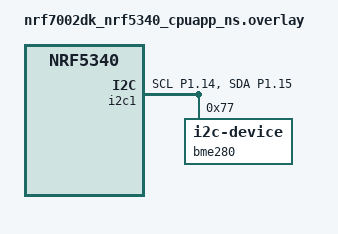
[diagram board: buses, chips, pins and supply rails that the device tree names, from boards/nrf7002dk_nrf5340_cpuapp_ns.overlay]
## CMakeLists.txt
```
# SPDX-License-Identifier: Apache-2.0

cmake_minimum_required(VERSION 3.20.0)
find_package(Zephyr REQUIRED HINTS $ENV{ZEPHYR_BASE})
project(blinky)

target_sources(app PRIVATE src/main.c)

if(CONFIG_SUM_PRINT)
    target_sources(app PRIVATE sum_printk/sum_printk.c)
    target_include_directories(app PRIVATE sum_printk)
endif()

if(CONFIG_SUM_LOG)
    target_sources(app PRIVATE sum_log/sum_log.c)
    target_include_directories(app PRIVATE sum_log)
endif()
```

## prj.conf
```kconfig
CONFIG_GPIO=y

CONFIG_CONSOLE=y
CONFIG_UART_CONSOLE=y

CONFIG_LOG=y
CONFIG_LOG_DEFAULT_LEVEL=3

CONFIG_SUM_LOG=y
#CONFIG_SUM_PRINT=y

# Sensor framework + I2C
CONFIG_SENSOR=y
CONFIG_I2C=y

CONFIG_TFM_SECURE_UART=n
CONFIG_TFM_LOG_LEVEL_SILENCE=y
```

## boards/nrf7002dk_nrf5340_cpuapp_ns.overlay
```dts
/delete-node/ &boot_partition;
/delete-node/ &slot0_partition;
/delete-node/ &slot1_partition;

&flash0 {
    partitions {
        /* Primary image area, based at 0x0, sized to 960KB */
        slot0_partition: partition@0 {
            compatible = "zephyr,mapped-partition";
            label = "image-0";
            reg = <0x00000000 0xf0000>;
            ranges = <0x0 0x0 0xf0000>;
            #address-cells = <1>;
            #size-cells = <1>;

            slot0_s_partition: partition@0 {
                compatible = "zephyr,mapped-partition";
                label = "image-0-secure";
                reg = <0x00000000 0x40000>;   /* 256 KB TF-M secure */
            };

            slot0_ns_partition: partition@40000 {
                compatible = "zephyr,mapped-partition";
                label = "image-0-nonsecure";
                reg = <0x00040000 0xb0000>;   /* 704 KB non-secure app */
            };
        };
    };
};

/ {
    aliases {
        led5180 = &led1;
        button5180 = &button0;
    };
};

&i2c1 {
    status = "okay";
    pinctrl-0 = <&i2c1_default>;
    pinctrl-1 = <&i2c1_sleep>;
    pinctrl-names = "default", "sleep";

    bme280: bme280@77 {
        compatible = "i2c-device";
        status = "okay";
        reg = <0x77>;
    };
};

&pinctrl {
    /omit-if-no-ref/ i2c1_default: i2c1_default {
        group1 {
            psels = <NRF_PSEL(TWIM_SCL, 1, 14)>,
                    <NRF_PSEL(TWIM_SDA, 1, 15)>;
        };
    };

    /omit-if-no-ref/ i2c1_sleep: i2c1_sleep {
        group1 {
            psels = <NRF_PSEL(TWIM_SCL, 1, 14)>,
                    <NRF_PSEL(TWIM_SDA, 1, 15)>;
            low-power-enable;
        };
    };
};
```

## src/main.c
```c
/*
 * Copyright (c) 2016 Intel Corporation
 *
 * SPDX-License-Identifier: Apache-2.0
 */

#include <stdio.h>
#include <zephyr/kernel.h>
#include <zephyr/drivers/gpio.h>
#include <zephyr/drivers/i2c.h>

#ifdef CONFIG_SUM_PRINT
#include "sum_printk.h"
#endif
#ifdef CONFIG_SUM_LOG
#include "sum_log.h"
#endif

/* 1000 msec = 1 sec */
#define SLEEP_TIME_MS   2000

/* The devicetree node identifier for the "led0" alias. */
#define LED0_NODE DT_ALIAS(led0)
#define led5180_NODE DT_ALIAS(led5180)
#define BUTTON_NODE DT_ALIAS(button5180)

#define BME280_NODE DT_NODELABEL(bme280)

static const struct i2c_dt_spec bme280 = I2C_DT_SPEC_GET(BME280_NODE);

#define BME280_CTRL_MEAS 0xF4
#define BME280_TEMP_MSB  0xFA

/*
 * A build error on this line means your board is unsupported.
 * See the sample documentation for information on how to fix this.
 */
static const struct gpio_dt_spec led = GPIO_DT_SPEC_GET(led5180_NODE, gpios);
static const struct gpio_dt_spec button = GPIO_DT_SPEC_GET(BUTTON_NODE, gpios);

static int32_t compensate_temperature(int32_t adc_T, uint16_t dig_T1, int16_t dig_T2, int16_t dig_T3)
{
    int32_t var1;
    int32_t var2;
    int32_t t_fine;
    int32_t T;

    var1 = ((((adc_T >> 3) - ((int32_t)dig_T1 << 1))) * ((int32_t)dig_T2)) >> 11;
    var2 = (((((adc_T >> 4) - ((int32_t)dig_T1)) * ((adc_T >> 4) - ((int32_t)dig_T1))) >> 12) * ((int32_t)dig_T3)) >> 14;

    t_fine = var1 + var2;

    T = (t_fine * 5 + 128) >> 8;

    return T;
}

int main(void)
{
	int ret;
	bool led_state = true;

	if (!gpio_is_ready_dt(&led)) {
		return 0;
	}

	ret = gpio_pin_configure_dt(&led, GPIO_OUTPUT_ACTIVE);
	if (ret < 0) {
		return 0;
	}

	if (!gpio_is_ready_dt(&button)) {
		return 0;
	}

	ret = gpio_pin_configure_dt(&button, GPIO_INPUT);
	if (ret < 0) {
		return 0;
	}

	int a = 2;
    int b = 3;
	#ifdef CONFIG_SUM_PRINT
		sum_printk(a, b);
	#endif
	#ifdef CONFIG_SUM_LOG
		sum_log(a, b);
	#endif

	bool last_state = false;

	uint8_t ctrl_meas[2] = {
		BME280_CTRL_MEAS,
		0x27
	};

	int i2c_ret = i2c_write_dt(&bme280, ctrl_meas, sizeof(ctrl_meas));


	if (i2c_ret != 0) {
		printk("fail\n");
	}

	uint8_t calib[6];

	i2c_ret = i2c_burst_read_dt(
		&bme280,
		0x88,
		calib,
		sizeof(calib)
	);

	if (i2c_ret != 0) {
		printk("failed calibration\n");
	}

	uint16_t dig_T1 = ((uint16_t)calib[1] << 8) | calib[0];
	int16_t dig_T2 = (int16_t)(((uint16_t)calib[3] << 8) | calib[2]);
	int16_t dig_T3 = (int16_t)(((uint16_t)calib[5] << 8) | calib[4]);

	uint8_t temp_data[3];

	i2c_ret = i2c_burst_read_dt(
		&bme280,
		BME280_TEMP_MSB,
		temp_data,
		sizeof(temp_data)
	);

	if (i2c_ret != 0) {
		printk("Failed to read temperature\n");
	}

	int32_t raw_temp = ((int32_t)temp_data[0] << 12) | ((int32_t)temp_data[1] << 4) | ((int32_t)temp_data[2] >> 4);
	int32_t temperature = compensate_temperature(raw_temp, dig_T1, dig_T2, dig_T3);

	printk("Temperature: %d.%02d C\n", temperature / 100, temperature % 100);

	while (1) {
		
		int button_state = gpio_pin_get_dt(&button);
		if (button_state < 0) {
			return 0;
		}

		if (button_state && !last_state) {

			ret = gpio_pin_toggle_dt(&led);
			if (ret < 0) {
				return 0;
			}

			led_state = !led_state;
			printf("LED state: %s\n", led_state ? "ON" : "OFF");
		}
		last_state = button_state;
		k_msleep(20);
	}
	return 0;
}
```
